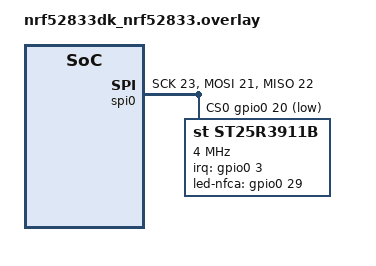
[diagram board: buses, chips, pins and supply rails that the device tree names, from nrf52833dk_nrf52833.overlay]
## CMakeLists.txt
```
#
# Copyright (c) 2019 Nordic Semiconductor ASA
#
# SPDX-License-Identifier: LicenseRef-Nordic-5-Clause
#

cmake_minimum_required(VERSION 3.20.0)

find_package(Zephyr REQUIRED HINTS $ENV{ZEPHYR_BASE})
project(NONE)

FILE(GLOB app_sources src/*.c)
# NORDIC SDK APP START
target_sources(app  PRIVATE ${app_sources})
# NORDIC SDK APP END

# Include configuration headers
zephyr_library_include_directories(configuration)
```

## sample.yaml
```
sample:
  name: NFC TNEP poller sample
tests:
  sample.nfc.tnep_poller:
    sysbuild: true
    build_only: true
    integration_platforms:
      - nrf52dk/nrf52832
      - nrf5340dk/nrf5340/cpuapp
    platform_allow:
      - nrf52840dk/nrf52840
      - nrf52dk/nrf52832
      - nrf5340dk/nrf5340/cpuapp
    tags:
      - ci_build
      - sysbuild
      - ci_samples_nfc
```

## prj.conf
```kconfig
#
# Copyright (c) 2019 Nordic Semiconductor ASA
#
# SPDX-License-Identifier: LicenseRef-Nordic-5-Clause
#
CONFIG_SPI=y

CONFIG_ST25R3911B_LIB=y

CONFIG_NFC_NDEF=y
CONFIG_NFC_NDEF_RECORD=y
CONFIG_NFC_NDEF_TEXT_RECORD=y
CONFIG_NFC_NDEF_MSG=y
CONFIG_NFC_NDEF_PARSER=y
CONFIG_NFC_T4T_HL_PROCEDURE=y
CONFIG_NFC_TNEP_POLLER=y

CONFIG_POLL=y
CONFIG_ASSERT=y
CONFIG_ASSERT_LEVEL=2

CONFIG_MAIN_STACK_SIZE=4096

CONFIG_LOG=y
CONFIG_LOG_PRINTK=y
CONFIG_LOG_PROCESS_THREAD_STACK_SIZE=4096
CONFIG_LOG_BUFFER_SIZE=4096
```

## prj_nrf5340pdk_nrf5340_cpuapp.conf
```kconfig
#
# Copyright (c) 2020 Nordic Semiconductor ASA
#
# SPDX-License-Identifier: LicenseRef-BSD-5-Clause-Nordic
#
CONFIG_SPI_1=y
CONFIG_SPI=y

CONFIG_ST25R3911B_LIB=y

CONFIG_NFC_NDEF=y
CONFIG_NFC_NDEF_RECORD=y
CONFIG_NFC_NDEF_TEXT_RECORD=y
CONFIG_NFC_NDEF_MSG=y
CONFIG_NFC_NDEF_PARSER=y
CONFIG_NFC_T4T_HL_PROCEDURE=y
CONFIG_NFC_TNEP_POLLER=y

CONFIG_POLL=y
CONFIG_ASSERT=y
CONFIG_ASSERT_LEVEL=2

CONFIG_MAIN_STACK_SIZE=4096

CONFIG_LOG=y
CONFIG_LOG_PRINTK=y
CONFIG_LOG_PROCESS_THREAD_STACK_SIZE=4096
CONFIG_LOG_BUFFER_SIZE=4096
```

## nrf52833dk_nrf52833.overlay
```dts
&spi0 {
	compatible = "nordic,nrf-spi";
	status = "okay";
	sck-pin = <23>;
	mosi-pin = <21>;
	miso-pin = <22>;
	cs-gpios = <&gpio0 20 GPIO_ACTIVE_LOW>;

	st25r3911b@0 {
		label = "ST25R3911B";
		compatible = "st,st25r3911b";
		reg = <0>;
		spi-max-frequency = <4000000>;
		irq-gpios = <&gpio0 3 0>;
		led-nfca-gpios = <&gpio0 29 0>;
	};
};

&spi1 {
	status = "disabled";
};

&spi2 {
	status = "disabled";
};

&spi3 {
	status = "disabled";
};
```

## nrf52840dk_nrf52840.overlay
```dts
&spi0 {
	compatible = "nordic,nrf-spi";
	status = "okay";
	cs-gpios = <&gpio1 12 GPIO_ACTIVE_LOW>;

	pinctrl-0 = <&spi0_default_alt>;
	pinctrl-1 = <&spi0_sleep_alt>;
	pinctrl-names = "default", "sleep";
	st25r3911b@0 {
		compatible = "st,st25r3911b";
		reg = <0>;
		spi-max-frequency = <4000000>;
		irq-gpios = <&gpio0 3 GPIO_ACTIVE_HIGH>;
		led-nfca-gpios = <&gpio0 29 GPIO_ACTIVE_HIGH>;
	};
};

&spi1 {
	status = "disabled";
};

&spi2 {
	status = "disabled";
};

&spi3 {
	status = "disabled";
};

&pinctrl {
	spi0_default_alt: spi0_default_alt {
		group1 {
			psels = <NRF_PSEL(SPIM_SCK, 1, 15)>,
				<NRF_PSEL(SPIM_MOSI, 1, 13)>,
				<NRF_PSEL(SPIM_MISO, 1, 14)>;
		};
	};

	spi0_sleep_alt: spi0_sleep_alt {
		group1 {
			psels = <NRF_PSEL(SPIM_SCK, 1, 15)>,
				<NRF_PSEL(SPIM_MOSI, 1, 13)>,
				<NRF_PSEL(SPIM_MISO, 1, 14)>;
			low-power-enable;
		};
	};
};
```

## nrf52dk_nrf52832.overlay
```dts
&spi0 {
	compatible = "nordic,nrf-spi";
	status = "okay";
	sck-pin = <25>;
	mosi-pin = <23>;
	miso-pin = <24>;
	cs-gpios = <&gpio0 22 0>;

	st25r3911b@0 {
		label = "ST25R3911B";
		compatible = "st,st25r3911b";
		reg = <0>;
		spi-max-frequency = <4000000>;
		irq-gpios = <&gpio0 3 0>;
		led-nfca-gpios = <&gpio0 29 0>;
	};
};

&spi1 {
	status = "disabled";
};

&spi2 {
	status = "disabled";
};
```

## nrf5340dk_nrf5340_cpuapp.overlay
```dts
&spi1 {
	compatible = "nordic,nrf-spim";
	status = "okay";
	cs-gpios = <&gpio1 12 GPIO_ACTIVE_LOW>;

	pinctrl-0 = <&spi1_default_alt>;
	pinctrl-1 = <&spi1_sleep_alt>;
	pinctrl-names = "default", "sleep";

	st25r3911b@0 {
		compatible = "st,st25r3911b";
		reg = <0>;
		spi-max-frequency = <4000000>;
		irq-gpios = <&gpio0 4 GPIO_ACTIVE_HIGH>;
		led-nfca-gpios = <&gpio0 7 GPIO_ACTIVE_HIGH>;
	};
};

&pinctrl {
	spi1_default_alt: spi1_default_alt {
		group1 {
			psels = <NRF_PSEL(SPIM_SCK, 1, 15)>,
				<NRF_PSEL(SPIM_MOSI, 1, 13)>,
				<NRF_PSEL(SPIM_MISO, 1, 14)>;
		};
	};

	spi1_sleep_alt: spi1_sleep_alt {
		group1 {
			psels = <NRF_PSEL(SPIM_SCK, 1, 15)>,
				<NRF_PSEL(SPIM_MOSI, 1, 13)>,
				<NRF_PSEL(SPIM_MISO, 1, 14)>;
			low-power-enable;
		};
	};
};
```

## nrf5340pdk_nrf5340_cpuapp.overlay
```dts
&spi1 {
	compatible = "nordic,nrf-spim";
	status = "okay";
	sck-pin = <47>;
	mosi-pin = <45>;
	miso-pin = <46>;
	cs-gpios = <&gpio1 12 0>;

	st25r3911b@0 {
		label = "ST25R3911B";
		compatible = "st,st25r3911b";
		reg = <0>;
		spi-max-frequency = <4000000>;
		irq-gpios = <&gpio0 4 0>;
	};
};
```

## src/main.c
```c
/* main.c - Application main entry point */

/*
 * Copyright (c) 2019 Nordic Semiconductor ASA
 *
 * SPDX-License-Identifier: LicenseRef-Nordic-5-Clause
 */

#include <zephyr/types.h>
#include <stddef.h>
#include <stdbool.h>
#include <string.h>
#include <zephyr/kernel.h>
#include <zephyr/sys/printk.h>
#include <zephyr/sys/byteorder.h>
#include <st25r3911b_nfca.h>
#include <nfc/t4t/ndef_file.h>
#include <nfc/ndef/msg_parser.h>
#include <nfc/ndef/text_rec.h>
#include <nfc/t4t/isodep.h>
#include <nfc/t4t/hl_procedure.h>
#include <nfc/tnep/poller.h>

#define NFC_TNEP_MAX_RECORD 2
#define NFC_TNEP_DATA_SIZE 256
#define NFC_TNEP_SVC_NAME_MAX_LEN 30

#define MAX_TLV_BLOCKS 10
#define MAX_NDEF_RECORDS 10

#define NFC_T4T_ISODEP_FSD 256
#define NFC_T4T_ISODEP_RX_DATA_MAX_SIZE 1024
#define NFC_T4T_APDU_MAX_SIZE 1024

#define NFC_TX_DATA_LEN NFC_T4T_ISODEP_FSD
#define NFC_RX_DATA_LEN NFC_T4T_ISODEP_FSD

#define TRANSMIT_DELAY 3000
#define ALL_REQ_DELAY 2000

static uint8_t tx_data[NFC_TX_DATA_LEN];
static uint8_t rx_data[NFC_RX_DATA_LEN];

static struct k_poll_event events[ST25R3911B_NFCA_EVENT_CNT];
static struct k_work_delayable transmit_work;

NFC_NDEF_MSG_DEF(poller_msg, NFC_TNEP_MAX_RECORD);
NFC_T4T_CC_DESC_DEF(t4t_cc, MAX_TLV_BLOCKS);

static uint8_t tnep_tx_data[NFC_TNEP_DATA_SIZE];
static uint8_t tnep_rx_data[NFC_TNEP_DATA_SIZE];

static const struct nfc_tnep_buf tnep_tx_buf = {
	.data = tnep_tx_data,
	.size = sizeof(tnep_tx_data)
};

static struct nfc_tnep_buf tnep_rx_buf = {
	.data = tnep_rx_data,
	.size = sizeof(tnep_rx_data)
};

static struct st25r3911b_nfca_buf tx_buf = {
	.data = tx_data,
	.len = sizeof(tx_data)
};

static const struct st25r3911b_nfca_buf rx_buf = {
	.data = rx_data,
	.len = sizeof(rx_data)
};

struct t4t_tag {
	uint8_t data[NFC_T4T_ISODEP_RX_DATA_MAX_SIZE];
	uint8_t ndef[MAX_TLV_BLOCKS][NFC_T4T_APDU_MAX_SIZE];
	uint8_t tlv_index;
};

static enum nfc_tnep_tag_type tag_type;
static struct t4t_tag t4t;
static struct nfc_ndef_tnep_rec_svc_param services[2];
static uint32_t tnep_msg_max_size;
static bool tnep_mode;

/* Text message in English with its language code. */
static const uint8_t en_payload[] = {
	'H', 'e', 'l', 'l', 'o', ' ', 'W', 'o', 'r', 'l', 'd', '!'
};
static const uint8_t en_code[] = {'e', 'n'};

/* Text message in Polish with its language code. */
static const uint8_t pl_payload[] = {
	'W', 'i', 't', 'a', 'j', ' ', 0xc5, 0x9a, 'w', 'i', 'e', 'c', 'i',
	'e', '!'
};
static const uint8_t pl_code[] = {'P', 'L'};

static void nfc_tag_detect(bool all_request)
{
	int err;
	enum st25r3911b_nfca_detect_cmd cmd;

	tag_type = NFC_TNEP_TAG_TYPE_UNSUPPORTED;
	tnep_mode = false;

	cmd = all_request ? ST25R3911B_NFCA_DETECT_CMD_ALL_REQ :
		ST25R3911B_NFCA_DETECT_CMD_SENS_REQ;

	err = st25r3911b_nfca_tag_detect(cmd);
	if (err) {
		printk("Tag detect error: %d.\n", err);
	}
}

static bool tnep_data_search(const uint8_t *ndef_msg_buff, size_t nfc_data_len)
{
	int  err;
	uint8_t desc_buf[NFC_NDEF_PARSER_REQUIRED_MEM(MAX_NDEF_RECORDS)];
	size_t desc_buf_len = sizeof(desc_buf);
	uint8_t cnt = ARRAY_SIZE(services);

	err = nfc_ndef_msg_parse(desc_buf,
				 &desc_buf_len,
				 ndef_msg_buff,
				 &nfc_data_len);
	if (err) {
		printk("Error during parsing a NDEF message, err: %d.\n", err);
		return false;
	}

	err = nfc_tnep_poller_svc_search((struct nfc_ndef_msg_desc *) desc_buf,
					 services, &cnt);
	if (err) {
		printk("Service search err: %d\n", err);
		return false;
	}

	printk("TNEP Service count: %u\n", cnt);

	if (cnt > 0) {
		tnep_mode = true;

		return true;
	}

	return false;
}

static void transfer_handler(struct k_work *work)
{
	nfc_tag_detect(false);
}

static int tnep_ndef_read(uint8_t *ndef_buff, uint16_t ndef_len)
{
	return nfc_t4t_hl_procedure_ndef_read(&NFC_T4T_CC_DESC(t4t_cc),
					      ndef_buff, ndef_len);
}

static int tnep_ndef_update(const uint8_t *ndef_buff, uint16_t ndef_len)
{
	return nfc_t4t_hl_procedure_ndef_update(&NFC_T4T_CC_DESC(t4t_cc),
						(uint8_t *)ndef_buff, ndef_len);
}

static struct nfc_tnep_poller_ndef_api tnep_ndef_api = {
	.ndef_read = tnep_ndef_read,
	.ndef_update = tnep_ndef_update
};

static void nfc_field_on(void)
{
	printk("NFC field on.\n");

	nfc_tag_detect(false);
}

static void nfc_timeout(bool tag_sleep)
{
	if (tag_sleep) {
		printk("Tag sleep or no detected, sending ALL Request.\n");
	} else if (tag_type == NFC_TNEP_TAG_TYPE_T4T) {
		nfc_t4t_isodep_on_timeout();

		return;
	}

	/* Sleep will block processing loop. Accepted as it is short. */
	k_sleep(K_MSEC(ALL_REQ_DELAY));

	nfc_tag_detect(true);
}

static void nfc_field_off(void)
{
	printk("NFC field off.\n");
}

static void tag_detected(const struct st25r3911b_nfca_sens_resp *sens_resp)
{
	int err;

	printk("Anticollision: 0x%x Platform: 0x%x.\n",
		sens_resp->anticollison,
		sens_resp->platform_info);

	err = st25r3911b_nfca_anticollision_start();
	if (err) {
		printk("Anticollision error: %d.\n", err);
	}
}

static void anticollision_completed(const struct st25r3911b_nfca_tag_info *tag_info,
				    int err)
{
	if (err) {
		printk("Error during anticollision avoidance.\n");

		nfc_tag_detect(false);

		return;
	}

	printk("Tag info, type: %d.\n", tag_info->type);

	if (tag_info->type == ST25R3911B_NFCA_TAG_TYPE_T4T) {
		printk("Type 4 Tag.\n");

		tag_type = NFC_TNEP_TAG_TYPE_T4T;

		err = nfc_tnep_poller_api_set(&tnep_ndef_api,
					      NFC_TNEP_TAG_TYPE_T4T);
		if (err) {
			printk("TNEP API set error: %d\n", err);
			return;
		}

		/* Send RATS command */
		err = nfc_t4t_isodep_rats_send(NFC_T4T_ISODEP_FSD_256, 0);
		if (err) {
			printk("Type 4 Tag RATS sending error %d.\n", err);
		}
	} else {
		printk("Unsupported tag type.\n");

		tag_type = NFC_TNEP_TAG_TYPE_UNSUPPORTED;

		nfc_tag_detect(false);

		return;
	}
}

static void transfer_completed(const uint8_t *data, size_t len, int err)
{
	if (err) {
		printk("NFC Transfer error: %d.\n", err);
		return;
	}

	err = nfc_t4t_isodep_data_received(data, len, err);
	if (err) {
		printk("NFC-A T4T read error: %d.\n", err);
	}
}

static void tag_sleep(void)
{
	printk("Tag entered the Sleep state.\n");
}

static const struct st25r3911b_nfca_cb cb = {
	.field_on = nfc_field_on,
	.field_off = nfc_field_off,
	.tag_detected = tag_detected,
	.anticollision_completed = anticollision_completed,
	.rx_timeout = nfc_timeout,
	.transfer_completed = transfer_completed,
	.tag_sleep = tag_sleep
};

static void t4t_isodep_selected(const struct nfc_t4t_isodep_tag *t4t_tag)
{
	int err;

	printk("NFC T4T selected.\n");

	if ((t4t_tag->lp_divisor != 0) &&
	    (t4t_tag->lp_divisor != t4t_tag->pl_divisor)) {
		printk("Unsupported bitrate divisor by Reader/Writer.\n");
	}

	err = nfc_t4t_hl_procedure_ndef_tag_app_select();
	if (err) {
		printk("NFC T4T app select err %d.\n", err);
		return;
	}
}

static void t4t_isodep_error(int err)
{
	printk("ISO-DEP Protocol error %d.\n", err);

	nfc_tag_detect(false);
}

static void t4t_isodep_data_send(uint8_t *data, size_t data_len, uint32_t ftd)
{
	int err;

	tx_buf.data = data;
	tx_buf.len = data_len;

	err = st25r3911b_nfca_transfer_with_crc(&tx_buf, &rx_buf, ftd);
	if (err) {
		printk("NFC T4T ISO-DEP transfer error: %d.\n", err);
	}
}

static void t4t_isodep_received(const uint8_t *data, size_t data_len)
{
	int err;

	err = nfc_t4t_hl_procedure_on_data_received(data, data_len);
	if (err) {
		printk("NFC Type 4 Tag HL data received error: %d.\n", err);
	}
}

static void t4t_isodep_deselected(void)
{
	st25r3911b_nfca_tag_sleep();

	k_work_reschedule(&transmit_work, K_MSEC(TRANSMIT_DELAY));
}

static const struct nfc_t4t_isodep_cb t4t_isodep_cb = {
	.selected = t4t_isodep_selected,
	.deselected = t4t_isodep_deselected,
	.error = t4t_isodep_error,
	.ready_to_send = t4t_isodep_data_send,
	.data_received = t4t_isodep_received
};

static void t4t_hl_selected(enum nfc_t4t_hl_procedure_select type)
{
	int err = 0;

	switch (type) {
	case NFC_T4T_HL_PROCEDURE_NDEF_APP_SELECT:
		printk("NFC T4T NDEF Application selected.\n");

		err = nfc_t4t_hl_procedure_cc_select();
		if (err) {
			printk("NFC T4T Capability Container select error: %d.\n",
				err);
		}

		break;

	case NFC_T4T_HL_PROCEDURE_CC_SELECT:
		printk("NFC T4T Capability Container file selected.\n");

		err = nfc_t4t_hl_procedure_cc_read(&NFC_T4T_CC_DESC(t4t_cc));
		if (err) {
			printk("Capability Container read error: %d.\n", err);
		}

		break;

	case NFC_T4T_HL_PROCEDURE_NDEF_FILE_SELECT:
		if (tnep_mode) {
			printk("NFC T4T NDEF file contains the TNEP Initial Message selected.\n");

			/* Select first service. */
			err = nfc_tnep_poller_svc_select(&tnep_rx_buf,
							 services, tnep_msg_max_size);
			if (err) {
				printk("Service select err: %d\n", err);
			}

			return;
		}

		printk("NFC T4T NDEF file selected.\n");

		err = nfc_t4t_hl_procedure_ndef_read(&NFC_T4T_CC_DESC(t4t_cc),
						     t4t.ndef[t4t.tlv_index],
						     NFC_T4T_APDU_MAX_SIZE);
		if (err) {
			printk("NFC T4T NDEF file read error %d.\n", err);
		}

		break;

	default:
		break;
	}

	if (err) {
		st25r3911b_nfca_tag_sleep();

		k_work_reschedule(&transmit_work, K_MSEC(TRANSMIT_DELAY));
	}
}

static void t4t_hl_cc_read(struct nfc_t4t_cc_file *cc)
{
	int err;
	struct nfc_t4t_tlv_block *tlv_block;

	printk("NFC T4T Capability Container file read.\n");

	for (size_t i = 0; i < cc->tlv_count; i++) {
		tlv_block = &cc->tlv_block_array[i];

		if ((tlv_block->type == NFC_T4T_TLV_BLOCK_TYPE_NDEF_FILE_CONTROL_TLV) &&
		    (tlv_block->value.read_access == NFC_T4T_TLV_BLOCK_CONTROL_FILE_READ_ACCESS_GRANTED)) {
			err = nfc_t4t_hl_procedure_ndef_file_select(tlv_block->value.file_id);
			if (err) {
				printk("NFC T4T NDEF file select error: %d.\n",
				       err);
			}

			return;
		}
	}

	printk("No NDEF File TLV in Capability Container.");
}

static void t4t_hl_ndef_read(uint16_t file_id, const uint8_t *data, size_t len)
{
	int err;
	struct nfc_t4t_cc_file *cc;
	struct nfc_t4t_tlv_block *tlv_block;

	printk("NDEF file read, id: 0x%x.\n", file_id);

	if (tnep_mode) {
		err = nfc_tnep_poller_on_ndef_read(nfc_t4t_ndef_file_msg_get(data),
						   nfc_t4t_ndef_file_msg_size_get(len));
		if (err) {
			printk("TNEP Read data error: %d\n", err);
		}

		return;
	}

	t4t.tlv_index++;
	cc = &NFC_T4T_CC_DESC(t4t_cc);

	for (size_t i = t4t.tlv_index; i < cc->tlv_count; i++) {
		tlv_block = &cc->tlv_block_array[i];

		if ((tlv_block->type == NFC_T4T_TLV_BLOCK_TYPE_NDEF_FILE_CONTROL_TLV) &&
		    (tlv_block->value.read_access == NFC_T4T_TLV_BLOCK_CONTROL_FILE_READ_ACCESS_GRANTED)) {

			err = nfc_t4t_hl_procedure_ndef_file_select(tlv_block->value.file_id);
			if (err) {
				printk("NFC T4T NDEF file select error: %d.\n",
				       err);
			}

			return;
		}

		t4t.tlv_index++;
	}

	t4t.tlv_index = 0;

	nfc_t4t_cc_file_printout(cc);

	tlv_block = cc->tlv_block_array;
	for (size_t i = 0; i < cc->tlv_count; i++) {
		if ((tlv_block[i].type == NFC_T4T_TLV_BLOCK_TYPE_NDEF_FILE_CONTROL_TLV) ||
		    (tlv_block[i].value.file.content != NULL)) {
			/* Look for first message contains TNEP Service
			 * Parameter Records.
			 */
			if (tnep_data_search(nfc_t4t_ndef_file_msg_get(tlv_block[i].value.file.content),
					     nfc_t4t_ndef_file_msg_size_get(tlv_block[i].value.file.len))) {
				tnep_msg_max_size = tlv_block[i].value.max_file_size;

				/* In case when NFC Tag device contains more
				 * than one NDEF Message, select the
				 * NDEF file which contains it.
				 */
				err = nfc_t4t_hl_procedure_ndef_file_select(tlv_block->value.file_id);
				if (err) {
					printk("TNEP Initial NDEF Message select error: %d.\n", err);
				}

				return;
			}
		}
	}

	err = nfc_t4t_isodep_tag_deselect();
	if (err) {
		printk("NFC T4T Deselect error: %d.\n", err);
	}
}

static void t4t_hl_ndef_update(uint16_t file_id)
{
	if (tnep_mode) {
		nfc_tnep_poller_on_ndef_write();
	}
}

static const struct nfc_t4t_hl_procedure_cb t4t_hl_procedure_cb = {
	.selected = t4t_hl_selected,
	.cc_read = t4t_hl_cc_read,
	.ndef_read = t4t_hl_ndef_read,
	.ndef_updated = t4t_hl_ndef_update
};

void tnep_svc_selected(const struct nfc_ndef_tnep_rec_svc_param *param,
		       const struct nfc_tnep_poller_msg *msg,
		       bool timeout)
{
	int err;
	char name[NFC_TNEP_SVC_NAME_MAX_LEN];

	NFC_NDEF_MSG_DEF(update_msg, NFC_TNEP_MAX_RECORD);
	NFC_NDEF_TEXT_RECORD_DESC_DEF(nfc_en_text_rec,
				      UTF_8,
				      en_code,
				      sizeof(en_code) - 1,
				      en_payload,
				      sizeof(en_payload) - 1);
	NFC_NDEF_TEXT_RECORD_DESC_DEF(nfc_pl_text_rec,
				      UTF_8,
				      pl_code,
				      sizeof(pl_code) - 1,
				      pl_payload,
				      sizeof(pl_payload) - 1);

	if (timeout) {
		err = nfc_tnep_poller_svc_deselect();
		if (err) {
			printk("TNEP service deselect error: %d.\n", err);
		}

		return;
	}

	strncpy(name, param->uri, param->uri_length);

	printk("TNEP Service selected. Service URI: %s.\n", name);
	printk("Service status: %d.\n", msg->status);

	if (msg->status != 0) {
		printk("Service status indicates TNEP protocol or service error.\n");
		return;
	}

	if (msg->msg->record_count == 1) {
		printk("Service data contains only status record. Communication is finished.\n");
		printk("Deselecting service.\n");

		err = nfc_tnep_poller_svc_deselect();
		if (err) {
			printk("TNEP service deselect error: %d.\n", err);
		}

		return;
	}

	printk("Service message:\n");

	nfc_ndef_msg_printout(msg->msg);

	/* Add text records to NDEF text message */
	err = nfc_ndef_msg_record_add(&NFC_NDEF_MSG(update_msg),
				   &NFC_NDEF_TEXT_RECORD_DESC(nfc_en_text_rec));
	if (err) {
		printk("Cannot add first record to TNEP update message!\n");
		return;
	}

	err = nfc_ndef_msg_record_add(&NFC_NDEF_MSG(update_msg),
				   &NFC_NDEF_TEXT_RECORD_DESC(nfc_pl_text_rec));
	if (err) {
		printk("Cannot add second record to TNEP update message!\n");
		return;
	}

	/* Update Service data. */
	err = nfc_tnep_poller_svc_write(&NFC_NDEF_MSG(update_msg),
					&tnep_rx_buf);
	if (err) {
		printk("Service Update error: %d.\n", err);
	}
}

void tnep_svc_deselected(void)
{
	int err;

	printk("TNEP Service deselected.\n");

	err = nfc_t4t_isodep_tag_deselect();
	if (err) {
		printk("NFC T4T Deselect error: %d.\n", err);
	}
}

void tnep_svc_sent(const struct nfc_ndef_tnep_rec_svc_param *param,
		   const struct nfc_tnep_poller_msg *rsp_msg,
		   bool timeout)
{
	int err;

	if (timeout) {
		err = nfc_tnep_poller_svc_deselect();
		if (err) {
			printk("TNEP service deselect error: %d.\n", err);
		}

		return;
	}

	printk("TNEP service updated.\n");

	if (rsp_msg->status != 0) {
		printk("TNEP protocol or service error.\n");
		return;
	}

	if (rsp_msg->msg->record_count == 1) {
		printk("Service data contains only status record. Communication is finished. Deselecting service.\n");
	}

	err = nfc_tnep_poller_svc_deselect();
	if (err) {
		printk("TNEP service deselect error: %d.\n", err);
	}
}

void tnep_error(int err)
{
	printk("TNEP error: %d.\n", err);
}

static struct nfc_tnep_poller_cb tnep_cb = {
	.svc_selected = tnep_svc_selected,
	.svc_deselected = tnep_svc_deselected,
	.svc_sent = tnep_svc_sent,
	.error = tnep_error
};

int main(void)
{
	int err;

	printk("NFC TNEP Poller sample started.\n");
	nfc_t4t_hl_procedure_cb_register(&t4t_hl_procedure_cb);

	k_work_init_delayable(&transmit_work, transfer_handler);

	nfc_tnep_poller_cb_register(&tnep_cb);

	err = nfc_tnep_poller_init(&tnep_tx_buf);
	if (err) {
		printk("NFC TNEP Protocol initialization err: %d\n", err);
		return 0;
	}

	err = nfc_t4t_isodep_init(tx_data, sizeof(tx_data),
				  t4t.data, sizeof(t4t.data),
				  &t4t_isodep_cb);
	if (err) {
		printk("NFC T4T ISO-DEP Protocol initialization failed err: %d.\n",
		       err);
		return 0;
	}

	err = st25r3911b_nfca_init(events, ARRAY_SIZE(events), &cb);
	if (err) {
		printk("NFCA initialization failed err: %d.\n", err);
		return 0;
	}

	err = st25r3911b_nfca_field_on();
	if (err) {
		printk("Field on error %d.", err);
		return 0;
	}

	while (true) {
		k_poll(events, ARRAY_SIZE(events), K_FOREVER);
		err = st25r3911b_nfca_process();
		if (err) {
			printk("NFC-A process failed, err: %d.\n", err);
			return 0;
		}
	}
}
```
